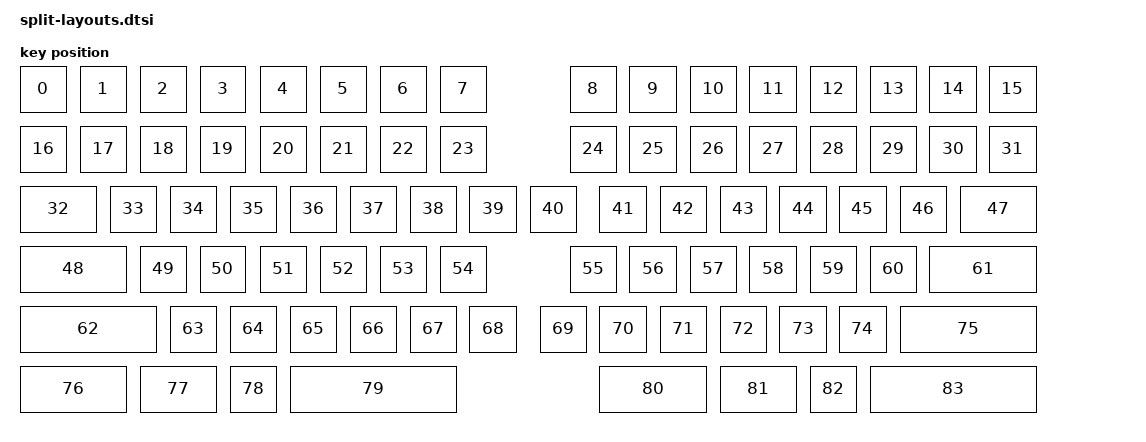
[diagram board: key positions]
#include <physical_layouts.dtsi>

/ {
    physical_layout0: physical_layout0 {
        compatible = "zmk,physical-layout";
        display-name = "Split Layout";

        keys  //                     w   h    x    y     rot    rx    ry
            = <&key_physical_attrs 100 100    0    0       0     0     0>
            , <&key_physical_attrs 100 100  120    0       0     0     0>
            , <&key_physical_attrs 100 100  240    0       0     0     0>
            , <&key_physical_attrs 100 100  360    0       0     0     0>
            , <&key_physical_attrs 100 100  480    0       0     0     0>
            , <&key_physical_attrs 100 100  600    0       0     0     0>
            , <&key_physical_attrs 100 100  720    0       0     0     0>
            , <&key_physical_attrs 100 100  840    0       0     0     0>

            , <&key_physical_attrs 100 100 1100    0       0     0     0>
            , <&key_physical_attrs 100 100 1220    0       0     0     0>
            , <&key_physical_attrs 100 100 1340    0       0     0     0>
            , <&key_physical_attrs 100 100 1460    0       0     0     0>
            , <&key_physical_attrs 100 100 1580    0       0     0     0>
            , <&key_physical_attrs 100 100 1700    0       0     0     0>
            , <&key_physical_attrs 100 100 1820    0       0     0     0>
            , <&key_physical_attrs 100 100 1940    0       0     0     0>


            , <&key_physical_attrs 100 100    0  120       0     0     0>
            , <&key_physical_attrs 100 100  120  120       0     0     0>
            , <&key_physical_attrs 100 100  240  120       0     0     0>
            , <&key_physical_attrs 100 100  360  120       0     0     0>
            , <&key_physical_attrs 100 100  480  120       0     0     0>
            , <&key_physical_attrs 100 100  600  120       0     0     0>
            , <&key_physical_attrs 100 100  720  120       0     0     0>
            , <&key_physical_attrs 100 100  840  120       0     0     0>

            , <&key_physical_attrs 100 100 1100  120       0     0     0>
            , <&key_physical_attrs 100 100 1220  120       0     0     0>
            , <&key_physical_attrs 100 100 1340  120       0     0     0>
            , <&key_physical_attrs 100 100 1460  120       0     0     0>
            , <&key_physical_attrs 100 100 1580  120       0     0     0>
            , <&key_physical_attrs 100 100 1700  120       0     0     0>
            , <&key_physical_attrs 100 100 1820  120       0     0     0>
            , <&key_physical_attrs 100 100 1940  120       0     0     0>


            , <&key_physical_attrs 160 100    0  240       0     0     0>
            , <&key_physical_attrs 100 100  180  240       0     0     0>
            , <&key_physical_attrs 100 100  300  240       0     0     0>
            , <&key_physical_attrs 100 100  420  240       0     0     0>
            , <&key_physical_attrs 100 100  540  240       0     0     0>
            , <&key_physical_attrs 100 100  660  240       0     0     0>
            , <&key_physical_attrs 100 100  780  240       0     0     0>
            , <&key_physical_attrs 100 100  900  240       0     0     0>

            , <&key_physical_attrs 100 100 1020  240       0     0     0>
            , <&key_physical_attrs 100 100 1160  240       0     0     0>
            , <&key_physical_attrs 100 100 1280  240       0     0     0>
            , <&key_physical_attrs 100 100 1400  240       0     0     0>
            , <&key_physical_attrs 100 100 1520  240       0     0     0>
            , <&key_physical_attrs 100 100 1640  240       0     0     0>
            , <&key_physical_attrs 100 100 1760  240       0     0     0>
            , <&key_physical_attrs 160 100 1880  240       0     0     0>


            , <&key_physical_attrs 220 100    0  360       0     0     0>
            , <&key_physical_attrs 100 100  240  360       0     0     0>
            , <&key_physical_attrs 100 100  360  360       0     0     0>
            , <&key_physical_attrs 100 100  480  360       0     0     0>
            , <&key_physical_attrs 100 100  600  360       0     0     0>
            , <&key_physical_attrs 100 100  720  360       0     0     0>
            , <&key_physical_attrs 100 100  840  360       0     0     0>

            , <&key_physical_attrs 100 100 1100  360       0     0     0>
            , <&key_physical_attrs 100 100 1220  360       0     0     0>
            , <&key_physical_attrs 100 100 1340  360       0     0     0>
            , <&key_physical_attrs 100 100 1460  360       0     0     0>
            , <&key_physical_attrs 100 100 1580  360       0     0     0>
            , <&key_physical_attrs 100 100 1700  360       0     0     0>
            , <&key_physical_attrs 220 100 1820  360       0     0     0>


            , <&key_physical_attrs 280 100    0  480       0     0     0>
            , <&key_physical_attrs 100 100  300  480       0     0     0>
            , <&key_physical_attrs 100 100  420  480       0     0     0>
            , <&key_physical_attrs 100 100  540  480       0     0     0>
            , <&key_physical_attrs 100 100  660  480       0     0     0>
            , <&key_physical_attrs 100 100  780  480       0     0     0>
            , <&key_physical_attrs 100 100  900  480       0     0     0>

            , <&key_physical_attrs 100 100 1040  480       0     0     0>
            , <&key_physical_attrs 100 100 1160  480       0     0     0>
            , <&key_physical_attrs 100 100 1280  480       0     0     0>
            , <&key_physical_attrs 100 100 1400  480       0     0     0>
            , <&key_physical_attrs 100 100 1520  480       0     0     0>
            , <&key_physical_attrs 100 100 1640  480       0     0     0>
            , <&key_physical_attrs 280 100 1760  480       0     0     0>


            , <&key_physical_attrs 220 100    0  600       0     0     0>
            , <&key_physical_attrs 160 100  240  600       0     0     0>
            , <&key_physical_attrs 100 100  420  600       0     0     0>
            , <&key_physical_attrs 340 100  540  600       0     0     0>

            , <&key_physical_attrs 220 100 1160  600       0     0     0>
            , <&key_physical_attrs 160 100 1400  600       0     0     0>
            , <&key_physical_attrs 100 100 1580  600       0     0     0>
            , <&key_physical_attrs 340 100 1700  600       0     0     0>
            ;
    };
};
